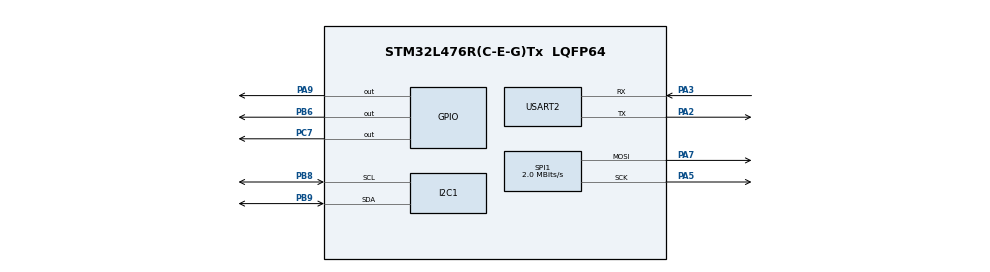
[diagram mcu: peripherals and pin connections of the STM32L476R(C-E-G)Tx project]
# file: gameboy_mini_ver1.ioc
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Dma.I2C1_RX.0.Direction=DMA_PERIPH_TO_MEMORY
Dma.I2C1_RX.0.Instance=DMA1_Channel7
Dma.I2C1_RX.0.MemDataAlignment=DMA_MDATAALIGN_BYTE
Dma.I2C1_RX.0.MemInc=DMA_MINC_ENABLE
Dma.I2C1_RX.0.Mode=DMA_NORMAL
Dma.I2C1_RX.0.PeriphDataAlignment=DMA_PDATAALIGN_BYTE
Dma.I2C1_RX.0.PeriphInc=DMA_PINC_DISABLE
Dma.I2C1_RX.0.Priority=DMA_PRIORITY_LOW
Dma.I2C1_TX.1.Direction=DMA_MEMORY_TO_PERIPH
Dma.I2C1_TX.1.Instance=DMA1_Channel6
Dma.I2C1_TX.1.MemDataAlignment=DMA_MDATAALIGN_BYTE
Dma.I2C1_TX.1.MemInc=DMA_MINC_ENABLE
Dma.I2C1_TX.1.Mode=DMA_NORMAL
Dma.I2C1_TX.1.PeriphDataAlignment=DMA_PDATAALIGN_BYTE
Dma.I2C1_TX.1.PeriphInc=DMA_PINC_DISABLE
Dma.I2C1_TX.1.Priority=DMA_PRIORITY_LOW
Dma.Request0=I2C1_RX
Dma.Request1=I2C1_TX
Mcu.Family=STM32L4
Mcu.Name=STM32L476R(C-E-G)Tx
Mcu.Package=LQFP64
NVIC.DMA1_Channel6_IRQn=true\:0\:0\:false\:false\:true\:false\:true
NVIC.DMA1_Channel7_IRQn=true\:0\:0\:false\:false\:true\:false\:true
NVIC.PriorityGroup=NVIC_PRIORITYGROUP_4
PA2.Mode=Asynchronous
PA2.Signal=USART2_TX
PA3.Mode=Asynchronous
PA3.Signal=USART2_RX
PA5.Mode=TX_Only_Simplex_Unidirect_Master
PA5.Signal=SPI1_SCK
PA7.Mode=TX_Only_Simplex_Unidirect_Master
PA7.Signal=SPI1_MOSI
PA9.Signal=GPIO_Output
PB6.Signal=GPIO_Output
PB8.Mode=I2C
PB8.Signal=I2C1_SCL
PB9.Mode=I2C
PB9.Signal=I2C1_SDA
PC7.Signal=GPIO_Output
ProjectManager.HeapSize=0x200
ProjectManager.StackSize=0x400
ProjectManager.TargetToolchain=SW4STM32
RCC.HSE_VALUE=8000000
RCC.HSI_VALUE=16000000
RCC.LSE_VALUE=32768
RCC.MSI_VALUE=4000000
RCC.VCOOutputFreq_Value=32000000
SPI1.CalculateBaudRate=2.0 MBits/s
SPI1.DataSize=SPI_DATASIZE_8BIT
SPI1.Direction=SPI_DIRECTION_2LINES
SPI1.Mode=SPI_MODE_MASTER
SPI1.VirtualType=VM_MASTER
USART2.VirtualMode-Asynchronous=VM_ASYNC
board=custom

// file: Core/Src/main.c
/* USER CODE BEGIN Header */
/**
  ******************************************************************************
  * @file           : main.c
  * @brief          : Main program body
  ******************************************************************************
  * @attention
  *
  * <h2><center>&copy; Copyright (c) 2021 STMicroelectronics.
  * All rights reserved.</center></h2>
  *
  * This software component is licensed by ST under BSD 3-Clause license,
  * the "License"; You may not use this file except in compliance with the
  * License. You may obtain a copy of the License at:
  *                        opensource.org/licenses/BSD-3-Clause
  *
  ******************************************************************************
  */
/* USER CODE END Header */
#include "main.h"

/* USER CODE BEGIN Includes */
#include "accel.h"
#include <stdio.h>
#include <string.h>
#include "ST7735.h"
#include "GFX_FUNCTIONS.h"
/* USER CODE END Includes */

I2C_HandleTypeDef hi2c1;
DMA_HandleTypeDef hdma_i2c1_rx;
DMA_HandleTypeDef hdma_i2c1_tx;

SPI_HandleTypeDef hspi1;

UART_HandleTypeDef huart2;

void SystemClock_Config(void);
static void MX_GPIO_Init(void);
static void MX_DMA_Init(void);
static void MX_I2C1_Init(void);
static void MX_SPI1_Init(void);
static void MX_USART2_UART_Init(void);

/* USER CODE BEGIN 0 */
int brickRowCount = 5;
int brickColumnCount = 11;
int brickWidth = 10;
int brickHeight = 10;
int brickPadding = 1;
int brickOffsetTop = 1;
int brickOffsetLeft = 1;

int ball_radius = 4;
int ball_x = 50;
int ball_y = 90;
int ball_x_speed = 2;
int ball_y_speed = 2;

int platform_x = 60;
int platform_y = 120;
int platform_width = 30;
int platform_height = 5;

char sprintbuff[64] = "";
unsigned char uartbuff[64];
float tmp1 = 0.0;
float tmp2 = 0.0;
float tmp3 = 0.0;
float tmp4 = 0.0;

int score = 0;

struct Brick {
	int x;
	int y;
	int status;
};

struct Brick Brick_Field[15][15];

void collisionDetection(){
	for (int row=0; row<brickRowCount; row++)
	{
		for (int col=0; col<brickColumnCount; col++)
		{
			struct Brick b = Brick_Field[row][col];
			if (b.status == 1)
			{
				//left -> right side
				if(ball_x+ball_radius>=b.x && ball_x+ball_radius<=b.x+brickWidth && ball_y>b.y && ball_y<b.y+brickHeight)
				{
					ball_x_speed = -ball_x_speed;
					Brick_Field[row][col].status = 0;
					fillRect(Brick_Field[row][col].x, Brick_Field[row][col].y, brickWidth, brickHeight, BLACK);
					score++;
				}
				//right -> left side
				else if (ball_x-ball_radius>=b.x && ball_x-ball_radius<=b.x+brickWidth && ball_y>b.y && ball_y<b.y+brickHeight)
				{
					ball_x_speed = -ball_x_speed;
					Brick_Field[row][col].status = 0;
					fillRect(Brick_Field[row][col].x, Brick_Field[row][col].y, brickWidth, brickHeight, BLACK);
					score++;
				}
				//up -> down side
				else if (ball_y+ball_radius>=b.y && ball_y+ball_radius<=b.y+brickHeight && ball_x>b.x && ball_x<b.x+brickWidth)
				{

					ball_y_speed = -ball_y_speed;
					Brick_Field[row][col].status = 0;
					fillRect(Brick_Field[row][col].x, Brick_Field[row][col].y, brickWidth, brickHeight, BLACK);
					score++;
				}
				//down -> up side
				else if (ball_y-ball_radius>=b.y && ball_y-ball_radius<=b.y+brickHeight && ball_x>b.x && ball_x<b.x+brickWidth)
				{

					ball_y_speed = -ball_y_speed;
					Brick_Field[row][col].status = 0;
					fillRect(Brick_Field[row][col].x, Brick_Field[row][col].y, brickWidth, brickHeight, BLACK);
					score++;
				}
			}
		}
	}
}

void game(){
	while (1)
	  {
	    /* USER CODE END WHILE */
		uint8_t		imu_readings[IMU_NUMBER_OF_BYTES]={0};
		int16_t 	accel_data[3];
		float		acc_x, acc_y, acc_z;

		  //testFastLines(RED, BLUE);
		  GetAccelData(&hi2c1, (uint8_t*)imu_readings);
		  accel_data[0] = (((int16_t)((uint8_t *)(imu_readings))[1] << 8) | ((uint8_t *)(imu_readings))[0]);      // Turn the MSB and LSB into a signed 16-bit value
		  accel_data[1] = (((int16_t)((uint8_t *)(imu_readings))[3] << 8) | ((uint8_t *)(imu_readings))[2]);
		  accel_data[2] = (((int16_t)((uint8_t *)(imu_readings))[5] << 8) | ((uint8_t *)(imu_readings))[4]);
		  acc_x = ((float)(accel_data[0]))/100.0f; //m/s2
		  acc_y = ((float)(accel_data[1]))/100.0f;
		  acc_z = ((float)(accel_data[2]))/100.0f;
		  if(acc_y<200 && acc_y>-200.0)
		  {
			  if(tmp1>2.0&&tmp2>2.0&&tmp3>2.0&&tmp4>3.0&&acc_y>2.0)
			  {
	//			  sprintf(sprintbuff,"0\n");
	//			  memcpy(uartbuff,sprintbuff,sizeof(sprintbuff));
	//			  HAL_UART_Transmit(&huart2,uartbuff,sizeof(uartbuff),1000);
				  if(platform_x<=98)
				  {
					  fillRect(platform_x+5, platform_y, platform_width, platform_height, GREEN);
					  fillRect(platform_x, platform_y, 5, platform_height, BLACK);
					  platform_x+=5;
				  }

			  }
			  else if(tmp1<-2.0&&tmp2<-2.0&&tmp3<-2.0&&tmp4<-2.0&&acc_y<-2.0)
			  {
				  //sprintf(sprintbuff,"1\n");
				  //memcpy(uartbuff,sprintbuff,sizeof(sprintbuff));
				  //HAL_UART_Transmit(&huart2,uartbuff,sizeof(uartbuff),1000);
				  if(platform_x>=0 )
				  {
					  fillRect(platform_x-5, platform_y, platform_width, platform_height, GREEN);
					  fillRect(platform_x+29, platform_y, 5, platform_height, BLACK);
					  platform_x-=5;
				  }

			  }
			  tmp4 = tmp3;
			  tmp3 = tmp2;
			  tmp2 = tmp1;
			  tmp1 = acc_y;
		  }

		  collisionDetection();
		  drawCircle(ball_x, ball_y, 4, BLACK);
		  //board
		  if((ball_y+ball_radius==platform_y-2 && ball_x>platform_x-8 && ball_x<platform_x+platform_width+8)|| ball_y+ball_radius<=0)
		  {
			  ball_y_speed = -ball_y_speed;

			  if(ball_x>platform_x-8 && ball_x<(platform_x+(platform_width/3))) //left 1/3
			  {
				  if(ball_x_speed>=2)
					  ball_x_speed--;
			  }
			  else if(ball_x>(platform_x+2*(platform_width/3)) && ball_x<platform_x+platform_width+8) // right 1/3
			  {
				  if(ball_x_speed<=5)
				  		ball_x_speed++;
			  }
			  else // middle 1/3
			  {

			  }
		  }

		  if(ball_x <= 4 || ball_x >= 124) ball_x_speed = -ball_x_speed;
		  ball_x += ball_x_speed;
		  ball_y += ball_y_speed;
		  drawCircle(ball_x, ball_y, 4, CYAN);

		  if (ball_y>=124)
		  {
			  break;
		  }

		  //}
		  //HAL_Delay(50);

	    /* USER CODE BEGIN 3 */
	  }
	  /* USER CODE END 3 */
}

void game_reset(){
	ball_x = 50;
	ball_y = 90;
	ball_x_speed = 2;
	ball_y_speed = 2;
	platform_x = 60;
	platform_y = 120;
	score = 0;
}
/* USER CODE END 0 */

int main(void)
{

  /* MCU Configuration--------------------------------------------------------*/

  /* Reset of all peripherals, Initializes the Flash interface and the Systick. */
  HAL_Init();

  /* Configure the system clock */
  SystemClock_Config();

  /* Initialize all configured peripherals */
  MX_GPIO_Init();
  MX_DMA_Init();
  MX_I2C1_Init();
  MX_SPI1_Init();
  ST7735_Init(0);
  MX_USART2_UART_Init();
  /* USER CODE BEGIN 2 */
  BNO055_Init_I2C(&hi2c1);
  /* USER CODE END 2 */
  //fillScreen(BLACK);
  //testAll();

  /* USER CODE BEGIN WHILE */
  //unsigned char address = 0x28;
  while(1){

	  /* construct block field */
	  fillScreen(BLACK);

	  for(int row=0; row<brickRowCount; row++)
	  {
		  for(int col=0; col<brickColumnCount; col++)
		  {
			  Brick_Field[row][col].x = (col*(brickWidth+brickPadding))+brickOffsetLeft + 4;
			  Brick_Field[row][col].y = (row*(brickHeight+brickPadding))+brickOffsetTop;
			  Brick_Field[row][col].status = 1;
			  fillRect(Brick_Field[row][col].x, Brick_Field[row][col].y, brickWidth, brickHeight, YELLOW);
		  }
	  }

	  fillRect(platform_x, platform_y, platform_width, platform_height, GREEN);
	  drawCircle(50, 90, 4, CYAN);

	  /* wait for start signal*/
	  uint8_t value = 0;
	  while(!value)
	  {
		  HAL_UART_Receive(&huart2,(uint8_t *)&value,1, 1000);
	  }

	  /* game */
	  game();

	  /* send score */
	  sprintf(sprintbuff,"%d\n", score);
	  memcpy(uartbuff,sprintbuff,sizeof(sprintbuff));
	  HAL_UART_Transmit(&huart2,uartbuff,sizeof(uartbuff),1000);

	  /* wait for retry signal*/
	  value = 0;
	  while(!value)
	  {
		  HAL_UART_Receive(&huart2,(uint8_t *)&value,1, 1000);
	  }

	  /* reset */
	  game_reset();

  }

}

void SystemClock_Config(void)
{
  RCC_OscInitTypeDef RCC_OscInitStruct = {0};
  RCC_ClkInitTypeDef RCC_ClkInitStruct = {0};
  RCC_PeriphCLKInitTypeDef PeriphClkInit = {0};

  /** Initializes the RCC Oscillators according to the specified parameters
  * in the RCC_OscInitTypeDef structure.
  */
  RCC_OscInitStruct.OscillatorType = RCC_OSCILLATORTYPE_MSI;
  RCC_OscInitStruct.MSIState = RCC_MSI_ON;
  RCC_OscInitStruct.MSICalibrationValue = 0;
  RCC_OscInitStruct.MSIClockRange = RCC_MSIRANGE_6;
  RCC_OscInitStruct.PLL.PLLState = RCC_PLL_NONE;
  if (HAL_RCC_OscConfig(&RCC_OscInitStruct) != HAL_OK)
  {
    Error_Handler();
  }
  /** Initializes the CPU, AHB and APB buses clocks
  */
  RCC_ClkInitStruct.ClockType = RCC_CLOCKTYPE_HCLK|RCC_CLOCKTYPE_SYSCLK
                              |RCC_CLOCKTYPE_PCLK1|RCC_CLOCKTYPE_PCLK2;
  RCC_ClkInitStruct.SYSCLKSource = RCC_SYSCLKSOURCE_MSI;
  RCC_ClkInitStruct.AHBCLKDivider = RCC_SYSCLK_DIV1;
  RCC_ClkInitStruct.APB1CLKDivider = RCC_HCLK_DIV1;
  RCC_ClkInitStruct.APB2CLKDivider = RCC_HCLK_DIV1;

  if (HAL_RCC_ClockConfig(&RCC_ClkInitStruct, FLASH_LATENCY_0) != HAL_OK)
  {
    Error_Handler();
  }
  PeriphClkInit.PeriphClockSelection = RCC_PERIPHCLK_USART2|RCC_PERIPHCLK_I2C1;
  PeriphClkInit.Usart2ClockSelection = RCC_USART2CLKSOURCE_PCLK1;
  PeriphClkInit.I2c1ClockSelection = RCC_I2C1CLKSOURCE_PCLK1;
  if (HAL_RCCEx_PeriphCLKConfig(&PeriphClkInit) != HAL_OK)
  {
    Error_Handler();
  }
  /** Configure the main internal regulator output voltage
  */
  if (HAL_PWREx_ControlVoltageScaling(PWR_REGULATOR_VOLTAGE_SCALE1) != HAL_OK)
  {
    Error_Handler();
  }
}

static void MX_I2C1_Init(void)
{

  hi2c1.Instance = I2C1;
  hi2c1.Init.Timing = 0x00000E14;
  hi2c1.Init.OwnAddress1 = 0;
  hi2c1.Init.AddressingMode = I2C_ADDRESSINGMODE_7BIT;
  hi2c1.Init.DualAddressMode = I2C_DUALADDRESS_DISABLE;
  hi2c1.Init.OwnAddress2 = 0;
  hi2c1.Init.OwnAddress2Masks = I2C_OA2_NOMASK;
  hi2c1.Init.GeneralCallMode = I2C_GENERALCALL_DISABLE;
  hi2c1.Init.NoStretchMode = I2C_NOSTRETCH_DISABLE;
  if (HAL_I2C_Init(&hi2c1) != HAL_OK)
  {
    Error_Handler();
  }
  /** Configure Analogue filter
  */
  if (HAL_I2CEx_ConfigAnalogFilter(&hi2c1, I2C_ANALOGFILTER_ENABLE) != HAL_OK)
  {
    Error_Handler();
  }
  /** Configure Digital filter
  */
  if (HAL_I2CEx_ConfigDigitalFilter(&hi2c1, 0) != HAL_OK)
  {
    Error_Handler();
  }

}

static void MX_SPI1_Init(void)
{

  /* SPI1 parameter configuration*/
  hspi1.Instance = SPI1;
  hspi1.Init.Mode = SPI_MODE_MASTER;
  hspi1.Init.Direction = SPI_DIRECTION_2LINES;
  hspi1.Init.DataSize = SPI_DATASIZE_8BIT;
  hspi1.Init.CLKPolarity = SPI_POLARITY_LOW;
  hspi1.Init.CLKPhase = SPI_PHASE_1EDGE;
  hspi1.Init.NSS = SPI_NSS_SOFT;
  hspi1.Init.BaudRatePrescaler = SPI_BAUDRATEPRESCALER_2;
  hspi1.Init.FirstBit = SPI_FIRSTBIT_MSB;
  hspi1.Init.TIMode = SPI_TIMODE_DISABLE;
  hspi1.Init.CRCCalculation = SPI_CRCCALCULATION_DISABLE;
  hspi1.Init.CRCPolynomial = 7;
  hspi1.Init.CRCLength = SPI_CRC_LENGTH_DATASIZE;
  hspi1.Init.NSSPMode = SPI_NSS_PULSE_ENABLE;
  if (HAL_SPI_Init(&hspi1) != HAL_OK)
  {
    Error_Handler();
  }

}

static void MX_USART2_UART_Init(void)
{

  huart2.Instance = USART2;
  huart2.Init.BaudRate = 115200;
  huart2.Init.WordLength = UART_WORDLENGTH_8B;
  huart2.Init.StopBits = UART_STOPBITS_1;
  huart2.Init.Parity = UART_PARITY_NONE;
  huart2.Init.Mode = UART_MODE_TX_RX;
  huart2.Init.HwFlowCtl = UART_HWCONTROL_NONE;
  huart2.Init.OverSampling = UART_OVERSAMPLING_16;
  huart2.Init.OneBitSampling = UART_ONE_BIT_SAMPLE_DISABLE;
  huart2.AdvancedInit.AdvFeatureInit = UART_ADVFEATURE_NO_INIT;
  if (HAL_UART_Init(&huart2) != HAL_OK)
  {
    Error_Handler();
  }

}

static void MX_DMA_Init(void)
{

  /* DMA controller clock enable */
  __HAL_RCC_DMA1_CLK_ENABLE();

  /* DMA interrupt init */
  /* DMA1_Channel6_IRQn interrupt configuration */
  HAL_NVIC_SetPriority(DMA1_Channel6_IRQn, 0, 0);
  HAL_NVIC_EnableIRQ(DMA1_Channel6_IRQn);
  /* DMA1_Channel7_IRQn interrupt configuration */
  HAL_NVIC_SetPriority(DMA1_Channel7_IRQn, 0, 0);
  HAL_NVIC_EnableIRQ(DMA1_Channel7_IRQn);

}

static void MX_GPIO_Init(void)
{
  GPIO_InitTypeDef GPIO_InitStruct = {0};

  /* GPIO Ports Clock Enable */
  __HAL_RCC_GPIOA_CLK_ENABLE();
  __HAL_RCC_GPIOC_CLK_ENABLE();
  __HAL_RCC_GPIOB_CLK_ENABLE();

  /*Configure GPIO pin Output Level */
  HAL_GPIO_WritePin(GPIOC, GPIO_PIN_7, GPIO_PIN_RESET);

  /*Configure GPIO pin Output Level */
  HAL_GPIO_WritePin(GPIOA, GPIO_PIN_9, GPIO_PIN_RESET);

  /*Configure GPIO pin Output Level */
  HAL_GPIO_WritePin(GPIOB, GPIO_PIN_6, GPIO_PIN_RESET);

  /*Configure GPIO pin : PC7 */
  GPIO_InitStruct.Pin = GPIO_PIN_7;
  GPIO_InitStruct.Mode = GPIO_MODE_OUTPUT_PP;
  GPIO_InitStruct.Pull = GPIO_NOPULL;
  GPIO_InitStruct.Speed = GPIO_SPEED_FREQ_LOW;
  HAL_GPIO_Init(GPIOC, &GPIO_InitStruct);

  /*Configure GPIO pin : PA9 */
  GPIO_InitStruct.Pin = GPIO_PIN_9;
  GPIO_InitStruct.Mode = GPIO_MODE_OUTPUT_PP;
  GPIO_InitStruct.Pull = GPIO_NOPULL;
  GPIO_InitStruct.Speed = GPIO_SPEED_FREQ_LOW;
  HAL_GPIO_Init(GPIOA, &GPIO_InitStruct);

  /*Configure GPIO pin : PB6 */
  GPIO_InitStruct.Pin = GPIO_PIN_6;
  GPIO_InitStruct.Mode = GPIO_MODE_OUTPUT_PP;
  GPIO_InitStruct.Pull = GPIO_NOPULL;
  GPIO_InitStruct.Speed = GPIO_SPEED_FREQ_LOW;
  HAL_GPIO_Init(GPIOB, &GPIO_InitStruct);

}

void Error_Handler(void)
{
  __disable_irq();
  while (1)
  {
  }
}

/************************ (C) COPYRIGHT STMicroelectronics *****END OF FILE****/
